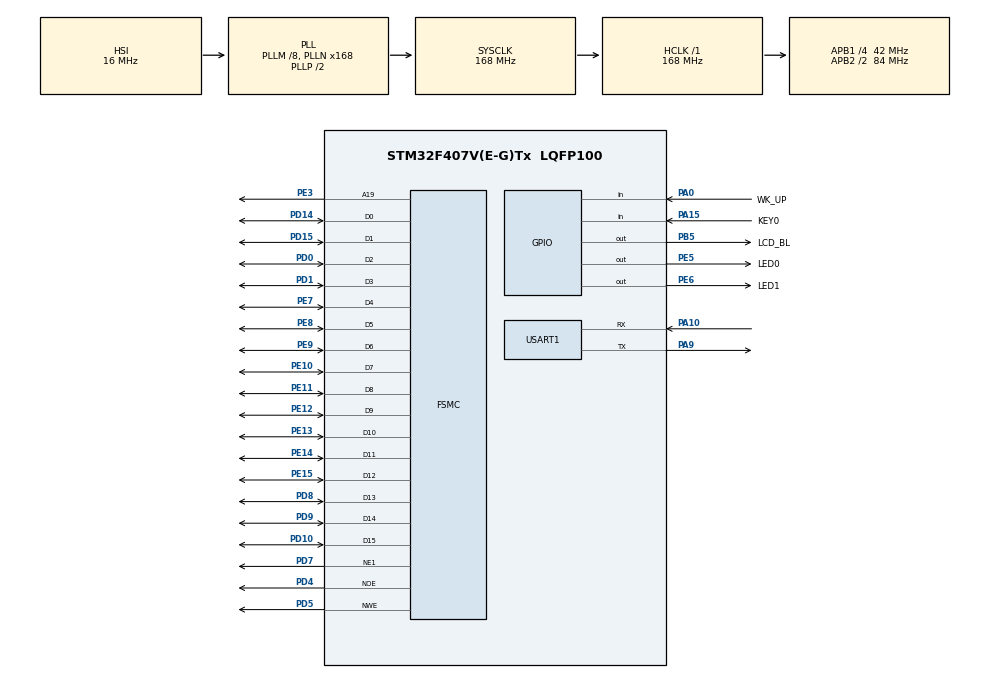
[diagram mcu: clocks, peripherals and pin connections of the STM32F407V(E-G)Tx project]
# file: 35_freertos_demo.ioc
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FREERTOS.Tasks01=task01,24,256,mytask01,Default,NULL,Dynamic,NULL,NULL;task02,24,256,mytask02,Default,NULL,Dynamic,NULL,NULL
FSMC.AddressSetupTime1=15
FSMC.BusTurnAroundDuration1=0
FSMC.DataSetupTime1=60
FSMC.ExtendedAddressSetupTime1=9
FSMC.ExtendedDataSetupTime1=9
FSMC.ExtendedMode1=FSMC_EXTENDED_MODE_ENABLE
Mcu.Family=STM32F4
Mcu.Name=STM32F407V(E-G)Tx
Mcu.Package=LQFP100
NVIC.PriorityGroup=NVIC_PRIORITYGROUP_4
NVIC.TIM1_UP_TIM10_IRQn=true\:15\:0\:false\:false\:true\:false\:false\:true\:true
NVIC.TimeBase=TIM1_UP_TIM10_IRQn
NVIC.TimeBaseIP=TIM1
NVIC.USART1_IRQn=true\:5\:0\:true\:false\:true\:true\:true\:true\:true
PA0-WKUP.GPIO_Label=WK_UP
PA0-WKUP.GPIO_PuPd=GPIO_PULLDOWN
PA0-WKUP.Signal=GPIO_Input
PA10.Mode=Asynchronous
PA10.Signal=USART1_RX
PA13.Mode=Serial_Wire
PA13.Signal=SYS_JTMS-SWDIO
PA14.Mode=Serial_Wire
PA14.Signal=SYS_JTCK-SWCLK
PA15.GPIO_Label=KEY0
PA15.GPIO_PuPd=GPIO_PULLDOWN
PA15.Signal=GPIO_Input
PA9.Mode=Asynchronous
PA9.Signal=USART1_TX
PB5.GPIO_Label=LCD_BL
PB5.GPIO_PuPd=GPIO_PULLUP
PB5.GPIO_Speed=GPIO_SPEED_FREQ_HIGH
PB5.PinState=GPIO_PIN_SET
PB5.Signal=GPIO_Output
PC14-OSC32_IN.Mode=LSE-External-Oscillator
PC14-OSC32_IN.Signal=RCC_OSC32_IN
PC15-OSC32_OUT.Mode=LSE-External-Oscillator
PC15-OSC32_OUT.Signal=RCC_OSC32_OUT
PD0.Mode=16b-d1
PD0.Signal=FSMC_D2
PD1.Mode=16b-d1
PD1.Signal=FSMC_D3
PD10.Mode=16b-d1
PD10.Signal=FSMC_D15
PD14.Mode=16b-d1
PD14.Signal=FSMC_D0
PD15.Mode=16b-d1
PD15.Signal=FSMC_D1
PD4.Mode=Lcd1
PD4.Signal=FSMC_NOE
PD5.Mode=Lcd1
PD5.Signal=FSMC_NWE
PD7.Mode=NorPsramChipSelect1_1
PD7.Signal=FSMC_NE1
PD8.Mode=16b-d1
PD8.Signal=FSMC_D13
PD9.Mode=16b-d1
PD9.Signal=FSMC_D14
PE10.Mode=16b-d1
PE10.Signal=FSMC_D7
PE11.Mode=16b-d1
PE11.Signal=FSMC_D8
PE12.Mode=16b-d1
PE12.Signal=FSMC_D9
PE13.Mode=16b-d1
PE13.Signal=FSMC_D10
PE14.Mode=16b-d1
PE14.Signal=FSMC_D11
PE15.Mode=16b-d1
PE15.Signal=FSMC_D12
PE3.Mode=A19_1
PE3.Signal=FSMC_A19
PE5.GPIO_Label=LED0
PE5.GPIO_PuPd=GPIO_PULLUP
PE5.GPIO_Speed=GPIO_SPEED_FREQ_HIGH
PE5.PinState=GPIO_PIN_SET
PE5.Signal=GPIO_Output
PE6.GPIO_Label=LED1
PE6.GPIO_PuPd=GPIO_PULLUP
PE6.GPIO_Speed=GPIO_SPEED_FREQ_HIGH
PE6.PinState=GPIO_PIN_SET
PE6.Signal=GPIO_Output
PE7.Mode=16b-d1
PE7.Signal=FSMC_D4
PE8.Mode=16b-d1
PE8.Signal=FSMC_D5
PE9.Mode=16b-d1
PE9.Signal=FSMC_D6
PH0-OSC_IN.Mode=HSE-External-Oscillator
PH0-OSC_IN.Signal=RCC_OSC_IN
PH1-OSC_OUT.Mode=HSE-External-Oscillator
PH1-OSC_OUT.Signal=RCC_OSC_OUT
ProjectManager.HeapSize=0x200
ProjectManager.StackSize=0x400
ProjectManager.TargetToolchain=STM32CubeIDE
RCC.48MHZClocksFreq_Value=84000000
RCC.AHBFreq_Value=168000000
RCC.APB1CLKDivider=RCC_HCLK_DIV4
RCC.APB1Freq_Value=42000000
RCC.APB1TimFreq_Value=84000000
RCC.APB2CLKDivider=RCC_HCLK_DIV2
RCC.APB2Freq_Value=84000000
RCC.APB2TimFreq_Value=168000000
RCC.CortexFreq_Value=168000000
RCC.HCLKFreq_Value=168000000
RCC.HSE_VALUE=25000000
RCC.HSI_VALUE=16000000
RCC.PLLM=8
RCC.PLLN=168
RCC.SYSCLKFreq_VALUE=168000000
RCC.SYSCLKSource=RCC_SYSCLKSOURCE_PLLCLK
RCC.VCOOutputFreq_Value=336000000
USART1.VirtualMode=VM_ASYNC
VP_FREERTOS_VS_CMSIS_V2.Mode=CMSIS_V2
VP_SYS_VS_tim1.Mode=TIM1
board=custom

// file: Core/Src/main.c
/**
 ****************************************************************************************************
 * @file        main.c
 * @author      ALIENTEK
 * @brief       freertos_demo code
 * @license     Copyright (C) 2012-2024, ALIENTEK
 ****************************************************************************************************
 * @attention
 *
 * platform     : ALIENTEK M100-STM32F407 board
 * website      : www.alientek.com
 * forum        : www.openedv.com/forum.php
 *
 * change logs  :
 * version      data         notes
 * V1.0         20240409     the first version
 *
 ****************************************************************************************************
 */

 /* USER CODE BEGIN Header */

/* USER CODE END Header */
#include "main.h"
#include "cmsis_os.h"
#include "usart.h"
#include "gpio.h"
#include "fsmc.h"

/* USER CODE BEGIN Includes */
#include "../../ATK_Middlewares/MALLOC/malloc.h"
#include "../../BSP/LED/led.h"
#include "../../BSP/KEY/key.h"
#include "../../BSP/LCD/lcd.h"
/* USER CODE END Includes */

/* USER CODE BEGIN PD */
/**
 * @brief   Displays information about the experiment
 * @param   None
 * @retval  None
 */
void stm32f407vg_show_mesg(void)
{
	/* The serial port outputs the experimental information */
	printf("\n");
	printf("********************************\r\n");
	printf("STM32F407\r\n");
	printf("MALLOC Test\r\n");
	printf("ATOM@ALIENTEK\r\n");
	printf("********************************\r\n");
	printf("\r\n");
}
/* USER CODE END PD */

void SystemClock_Config(void);
void MX_FREERTOS_Init(void);

int main(void)
{

  /* MCU Configuration--------------------------------------------------------*/

  /* Reset of all peripherals, Initializes the Flash interface and the Systick. */
  HAL_Init();

  /* Configure the system clock */
  SystemClock_Config();

  /* Initialize all configured peripherals */
  MX_GPIO_Init();
  MX_USART1_UART_Init();
  MX_FSMC_Init();
  /* USER CODE BEGIN 2 */
  lcd_init();                                     /* Initialize LCD */
  my_mem_init(SRAMIN);                            /* Initialize the internal SRAM memory pool */
  stm32f407vg_show_mesg();

  lcd_show_string(30, 50, 200, 16, 16, "STM32", RED);
  lcd_show_string(30, 70, 200, 16, 16, "FreeRTOS TEST", RED);
  lcd_show_string(30, 90, 200, 16, 16, "ATOM@ALIENTEK", RED);
  /* USER CODE END 2 */

  /* Init scheduler */
  osKernelInitialize();

  /* Call init function for freertos objects (in freertos.c) */
  MX_FREERTOS_Init();

  /* Start scheduler */
  osKernelStart();

  /* We should never get here as control is now taken by the scheduler */
  /* Infinite loop */
  while (1)
  {

  }
}

void SystemClock_Config(void)
{
  RCC_OscInitTypeDef RCC_OscInitStruct = {0};
  RCC_ClkInitTypeDef RCC_ClkInitStruct = {0};

  /** Configure the main internal regulator output voltage
  */
  __HAL_RCC_PWR_CLK_ENABLE();
  __HAL_PWR_VOLTAGESCALING_CONFIG(PWR_REGULATOR_VOLTAGE_SCALE1);

  /** Initializes the RCC Oscillators according to the specified parameters
  * in the RCC_OscInitTypeDef structure.
  */
  RCC_OscInitStruct.OscillatorType = RCC_OSCILLATORTYPE_HSI;
  RCC_OscInitStruct.HSIState = RCC_HSI_ON;
  RCC_OscInitStruct.HSICalibrationValue = RCC_HSICALIBRATION_DEFAULT;
  RCC_OscInitStruct.PLL.PLLState = RCC_PLL_ON;
  RCC_OscInitStruct.PLL.PLLSource = RCC_PLLSOURCE_HSI;
  RCC_OscInitStruct.PLL.PLLM = 8;
  RCC_OscInitStruct.PLL.PLLN = 168;
  RCC_OscInitStruct.PLL.PLLP = RCC_PLLP_DIV2;
  RCC_OscInitStruct.PLL.PLLQ = 4;
  if (HAL_RCC_OscConfig(&RCC_OscInitStruct) != HAL_OK)
  {
    Error_Handler();
  }

  /** Initializes the CPU, AHB and APB buses clocks
  */
  RCC_ClkInitStruct.ClockType = RCC_CLOCKTYPE_HCLK|RCC_CLOCKTYPE_SYSCLK
                              |RCC_CLOCKTYPE_PCLK1|RCC_CLOCKTYPE_PCLK2;
  RCC_ClkInitStruct.SYSCLKSource = RCC_SYSCLKSOURCE_PLLCLK;
  RCC_ClkInitStruct.AHBCLKDivider = RCC_SYSCLK_DIV1;
  RCC_ClkInitStruct.APB1CLKDivider = RCC_HCLK_DIV4;
  RCC_ClkInitStruct.APB2CLKDivider = RCC_HCLK_DIV2;

  if (HAL_RCC_ClockConfig(&RCC_ClkInitStruct, FLASH_LATENCY_5) != HAL_OK)
  {
    Error_Handler();
  }
}

void HAL_TIM_PeriodElapsedCallback(TIM_HandleTypeDef *htim)
{
  if (htim->Instance == TIM1) {
    HAL_IncTick();
  }
}

void Error_Handler(void)
{
  __disable_irq();
  while (1)
  {
  }
}
